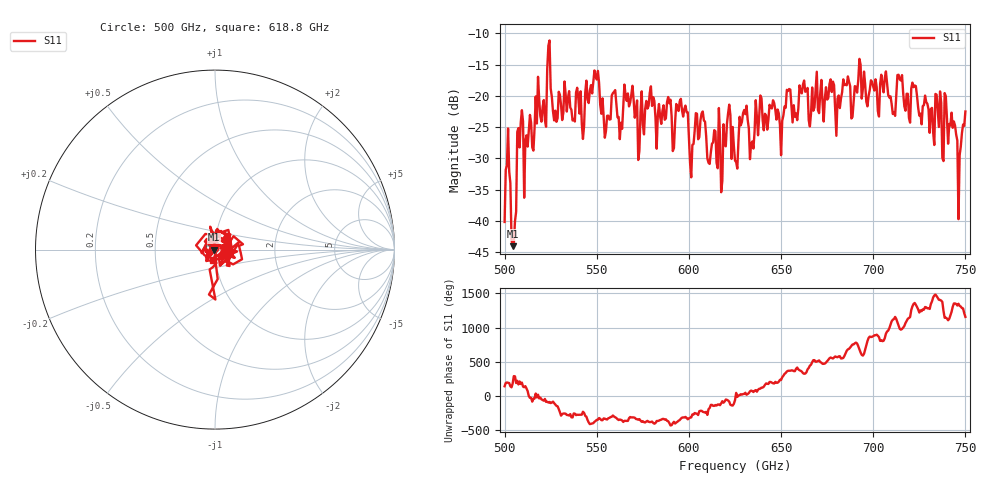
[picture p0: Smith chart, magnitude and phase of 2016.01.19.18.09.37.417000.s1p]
!Created with skrf (http://scikit-rf.org).
# GHz S RI R 50.0
!freq ReS11 ImS11
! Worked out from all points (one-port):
!   401 points, 500 GHz to 750 GHz, reference 50 ohm
!   lowest |S11| = -44.1 dB at 504.4 GHz (marker M1), VSWR 1.01, Z = 49.4 - j0.0191 ohm
!   |S11| at or under -10 dB: start of sweep to end of sweep
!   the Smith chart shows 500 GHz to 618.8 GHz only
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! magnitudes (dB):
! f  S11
! 500 GHz  -40.2
! 501.9 GHz  -25.2
! 504.4 GHz  -44.1
! 508.1 GHz  -28.2
! 511.9 GHz  -26.3
! 524.4 GHz  -11.1
! 527.5 GHz  -22.4
! 531.2 GHz  -23.9
! 541.9 GHz  -24.4
! 550 GHz  -17.4
! 553.8 GHz  -23.4
! 562.5 GHz  -26.9
! 593.8 GHz  -22.0
! 601.2 GHz  -33.0
! 607.5 GHz  -22.5
! 611.2 GHz  -30.9
! 621.2 GHz  -22.8
! 625 GHz  -30.3
! 630 GHz  -22.2
! 634.4 GHz  -27.3
! 656.2 GHz  -24.2
! 687.5 GHz  -18.4
! 711.2 GHz  -22.6
! 714.4 GHz  -17.3
! 718.8 GHz  -19.7
! 735 GHz  -22.5
! 746.2 GHz  -39.7
! 750 GHz  -22.5
